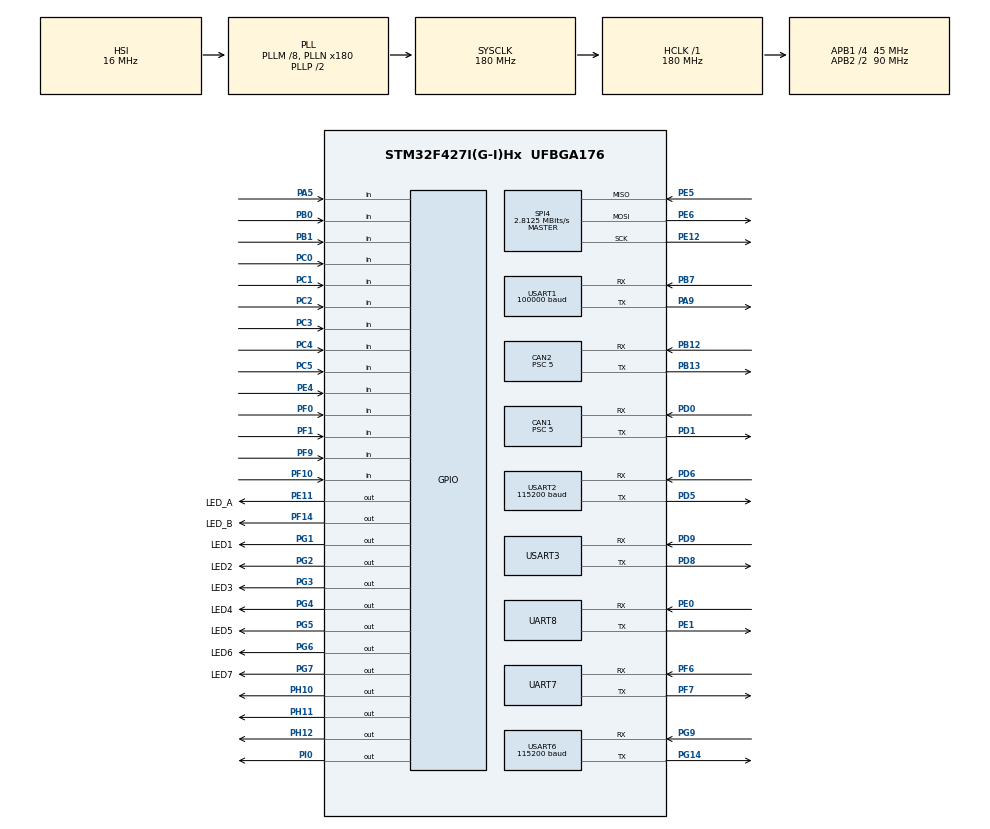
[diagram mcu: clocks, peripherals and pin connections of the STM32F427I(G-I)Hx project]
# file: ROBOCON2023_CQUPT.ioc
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CAN1.ABOM=ENABLE
CAN1.BS1=CAN_BS1_3TQ
CAN1.BS2=CAN_BS2_5TQ
CAN1.CalculateBaudRate=1000000
CAN1.CalculateTimeBit=1000
CAN1.CalculateTimeQuantum=111.11111111111111
CAN1.Prescaler=5
CAN2.ABOM=ENABLE
CAN2.BS1=CAN_BS1_3TQ
CAN2.BS2=CAN_BS2_5TQ
CAN2.CalculateBaudRate=1000000
CAN2.CalculateTimeBit=1000
CAN2.CalculateTimeQuantum=111.11111111111111
CAN2.Prescaler=5
Dma.Request0=USART1_RX
Dma.Request1=USART2_RX
Dma.Request2=USART6_RX
Dma.Request3=UART7_RX
Dma.Request4=UART8_RX
Dma.UART7_RX.3.Direction=DMA_PERIPH_TO_MEMORY
Dma.UART7_RX.3.FIFOMode=DMA_FIFOMODE_DISABLE
Dma.UART7_RX.3.Instance=DMA1_Stream3
Dma.UART7_RX.3.MemDataAlignment=DMA_MDATAALIGN_BYTE
Dma.UART7_RX.3.MemInc=DMA_MINC_ENABLE
Dma.UART7_RX.3.Mode=DMA_NORMAL
Dma.UART7_RX.3.PeriphDataAlignment=DMA_PDATAALIGN_BYTE
Dma.UART7_RX.3.PeriphInc=DMA_PINC_DISABLE
Dma.UART7_RX.3.Priority=DMA_PRIORITY_MEDIUM
Dma.UART8_RX.4.Direction=DMA_PERIPH_TO_MEMORY
Dma.UART8_RX.4.FIFOMode=DMA_FIFOMODE_DISABLE
Dma.UART8_RX.4.Instance=DMA1_Stream6
Dma.UART8_RX.4.MemDataAlignment=DMA_MDATAALIGN_BYTE
Dma.UART8_RX.4.MemInc=DMA_MINC_ENABLE
Dma.UART8_RX.4.Mode=DMA_NORMAL
Dma.UART8_RX.4.PeriphDataAlignment=DMA_PDATAALIGN_BYTE
Dma.UART8_RX.4.PeriphInc=DMA_PINC_DISABLE
Dma.UART8_RX.4.Priority=DMA_PRIORITY_MEDIUM
Dma.USART1_RX.0.Direction=DMA_PERIPH_TO_MEMORY
Dma.USART1_RX.0.FIFOMode=DMA_FIFOMODE_DISABLE
Dma.USART1_RX.0.Instance=DMA2_Stream2
Dma.USART1_RX.0.MemDataAlignment=DMA_MDATAALIGN_BYTE
Dma.USART1_RX.0.MemInc=DMA_MINC_ENABLE
Dma.USART1_RX.0.Mode=DMA_CIRCULAR
Dma.USART1_RX.0.PeriphDataAlignment=DMA_PDATAALIGN_BYTE
Dma.USART1_RX.0.PeriphInc=DMA_PINC_DISABLE
Dma.USART1_RX.0.Priority=DMA_PRIORITY_MEDIUM
Dma.USART2_RX.1.Direction=DMA_PERIPH_TO_MEMORY
Dma.USART2_RX.1.FIFOMode=DMA_FIFOMODE_DISABLE
Dma.USART2_RX.1.Instance=DMA1_Stream5
Dma.USART2_RX.1.MemDataAlignment=DMA_MDATAALIGN_BYTE
Dma.USART2_RX.1.MemInc=DMA_MINC_ENABLE
Dma.USART2_RX.1.Mode=DMA_CIRCULAR
Dma.USART2_RX.1.PeriphDataAlignment=DMA_PDATAALIGN_BYTE
Dma.USART2_RX.1.PeriphInc=DMA_PINC_DISABLE
Dma.USART2_RX.1.Priority=DMA_PRIORITY_MEDIUM
Dma.USART6_RX.2.Direction=DMA_PERIPH_TO_MEMORY
Dma.USART6_RX.2.FIFOMode=DMA_FIFOMODE_DISABLE
Dma.USART6_RX.2.Instance=DMA2_Stream1
Dma.USART6_RX.2.MemDataAlignment=DMA_MDATAALIGN_BYTE
Dma.USART6_RX.2.MemInc=DMA_MINC_ENABLE
Dma.USART6_RX.2.Mode=DMA_CIRCULAR
Dma.USART6_RX.2.PeriphDataAlignment=DMA_PDATAALIGN_BYTE
Dma.USART6_RX.2.PeriphInc=DMA_PINC_DISABLE
Dma.USART6_RX.2.Priority=DMA_PRIORITY_MEDIUM
FREERTOS.Mutexes01=shellMutex,Dynamic,NULL
FREERTOS.Tasks01=testTask,0,128,test_task,As weak,NULL,Dynamic,NULL,NULL;chassisTask,-3,128,chassis_task,As external,NULL,Dynamic,NULL,NULL;ledTask,-3,128,led_task,As external,NULL,Dynamic,NULL,NULL
Mcu.Family=STM32F4
Mcu.Name=STM32F427I(G-I)Hx
Mcu.Package=UFBGA176
NVIC.CAN1_RX0_IRQn=true\:5\:0\:false\:false\:true\:true\:true\:true\:true
NVIC.CAN1_TX_IRQn=true\:5\:0\:false\:false\:true\:true\:true\:true\:true
NVIC.CAN2_RX0_IRQn=true\:5\:0\:false\:false\:true\:true\:true\:true\:true
NVIC.CAN2_TX_IRQn=true\:5\:0\:false\:false\:true\:true\:true\:true\:true
NVIC.DMA1_Stream3_IRQn=true\:5\:0\:false\:false\:true\:true\:false\:true\:true
NVIC.DMA1_Stream5_IRQn=true\:5\:0\:false\:false\:true\:true\:false\:true\:true
NVIC.DMA1_Stream6_IRQn=true\:5\:0\:false\:false\:true\:true\:false\:true\:true
NVIC.DMA2_Stream1_IRQn=true\:5\:0\:false\:false\:true\:true\:false\:true\:true
NVIC.DMA2_Stream2_IRQn=true\:5\:0\:false\:false\:true\:true\:false\:true\:true
NVIC.PriorityGroup=NVIC_PRIORITYGROUP_4
NVIC.TIM2_IRQn=true\:5\:0\:false\:false\:true\:true\:true\:true\:true
NVIC.TIM8_TRG_COM_TIM14_IRQn=true\:15\:0\:false\:false\:true\:false\:false\:true\:true
NVIC.TimeBase=TIM8_TRG_COM_TIM14_IRQn
NVIC.TimeBaseIP=TIM14
NVIC.UART7_IRQn=true\:5\:0\:false\:false\:true\:true\:true\:true\:true
NVIC.UART8_IRQn=true\:5\:0\:false\:false\:true\:true\:true\:true\:true
NVIC.USART1_IRQn=true\:5\:0\:false\:false\:true\:true\:true\:true\:true
NVIC.USART2_IRQn=true\:5\:0\:false\:false\:true\:true\:true\:true\:true
NVIC.USART3_IRQn=true\:5\:0\:false\:false\:true\:true\:true\:true\:true
NVIC.USART6_IRQn=true\:5\:0\:false\:false\:true\:true\:true\:true\:true
PA13.Mode=Serial_Wire
PA13.Signal=SYS_JTMS-SWDIO
PA14.Mode=Serial_Wire
PA14.Signal=SYS_JTCK-SWCLK
PA5.Signal=GPIO_Input
PA9.Mode=Asynchronous
PA9.Signal=USART1_TX
PB0.Signal=GPIO_Input
PB1.Signal=GPIO_Input
PB12.Mode=CAN_Activate
PB12.Signal=CAN2_RX
PB13.Mode=CAN_Activate
PB13.Signal=CAN2_TX
PB7.Mode=Asynchronous
PB7.Signal=USART1_RX
PC0.Signal=GPIO_Input
PC1.Signal=GPIO_Input
PC2.GPIO_PuPd=GPIO_NOPULL
PC2.Signal=GPIO_Input
PC3.GPIO_PuPd=GPIO_NOPULL
PC3.Signal=GPIO_Input
PC4.Signal=GPIO_Input
PC5.Signal=GPIO_Input
PD0.Mode=CAN_Activate
PD0.Signal=CAN1_RX
PD1.Mode=CAN_Activate
PD1.Signal=CAN1_TX
PD5.Mode=Asynchronous
PD5.Signal=USART2_TX
PD6.Mode=Asynchronous
PD6.Signal=USART2_RX
PD8.Mode=Asynchronous
PD8.Signal=USART3_TX
PD9.Mode=Asynchronous
PD9.Signal=USART3_RX
PE0.Mode=Asynchronous
PE0.Signal=UART8_RX
PE1.Mode=Asynchronous
PE1.Signal=UART8_TX
PE11.GPIO_Label=LED_A
PE11.GPIO_PuPd=GPIO_PULLDOWN
PE11.Signal=GPIO_Output
PE12.Mode=Full_Duplex_Master
PE12.Signal=SPI4_SCK
PE4.GPIO_PuPd=GPIO_NOPULL
PE4.Signal=GPIO_Input
PE5.Mode=Full_Duplex_Master
PE5.Signal=SPI4_MISO
PE6.Mode=Full_Duplex_Master
PE6.Signal=SPI4_MOSI
PF0.Signal=GPIO_Input
PF1.Signal=GPIO_Input
PF10.Signal=GPIO_Input
PF14.GPIO_Label=LED_B
PF14.GPIO_PuPd=GPIO_PULLDOWN
PF14.Signal=GPIO_Output
PF6.Mode=Asynchronous
PF6.Signal=UART7_RX
PF7.Mode=Asynchronous
PF7.Signal=UART7_TX
PF9.Signal=GPIO_Input
PG1.GPIO_Label=LED1
PG1.GPIO_PuPd=GPIO_PULLDOWN
PG1.Signal=GPIO_Output
PG14.Mode=Asynchronous
PG14.Signal=USART6_TX
PG2.GPIO_Label=LED2
PG2.GPIO_PuPd=GPIO_PULLDOWN
PG2.Signal=GPIO_Output
PG3.GPIO_Label=LED3
PG3.GPIO_PuPd=GPIO_PULLDOWN
PG3.Signal=GPIO_Output
PG4.GPIO_Label=LED4
PG4.GPIO_PuPd=GPIO_PULLDOWN
PG4.Signal=GPIO_Output
PG5.GPIO_Label=LED5
PG5.GPIO_PuPd=GPIO_PULLDOWN
PG5.Signal=GPIO_Output
PG6.GPIO_Label=LED6
PG6.GPIO_PuPd=GPIO_PULLDOWN
PG6.Signal=GPIO_Output
PG7.GPIO_Label=LED7
PG7.GPIO_PuPd=GPIO_PULLDOWN
PG7.Signal=GPIO_Output
PG9.Mode=Asynchronous
PG9.Signal=USART6_RX
PH0/OSC_IN.Mode=HSE-External-Oscillator
PH0/OSC_IN.Signal=RCC_OSC_IN
PH1/OSC_OUT.Mode=HSE-External-Oscillator
PH1/OSC_OUT.Signal=RCC_OSC_OUT
PH10.PinState=GPIO_PIN_SET
PH10.Signal=GPIO_Output
PH11.PinState=GPIO_PIN_SET
PH11.Signal=GPIO_Output
PH12.PinState=GPIO_PIN_SET
PH12.Signal=GPIO_Output
PI0.PinState=GPIO_PIN_SET
PI0.Signal=GPIO_Output
ProjectManager.HeapSize=0x200
ProjectManager.StackSize=0x400
ProjectManager.TargetToolchain=MDK-ARM V5.32
RCC.48MHZClocksFreq_Value=90000000
RCC.AHBFreq_Value=180000000
RCC.APB1CLKDivider=RCC_HCLK_DIV4
RCC.APB1Freq_Value=45000000
RCC.APB1TimFreq_Value=90000000
RCC.APB2CLKDivider=RCC_HCLK_DIV2
RCC.APB2Freq_Value=90000000
RCC.APB2TimFreq_Value=180000000
RCC.CortexFreq_Value=180000000
RCC.HCLKFreq_Value=180000000
RCC.HSE_VALUE=25000000
RCC.HSI_VALUE=16000000
RCC.LSE_VALUE=32768
RCC.PLLM=8
RCC.PLLN=180
RCC.SYSCLKFreq_VALUE=180000000
RCC.SYSCLKSource=RCC_SYSCLKSOURCE_PLLCLK
RCC.VCOOutputFreq_Value=360000000
SPI4.BaudRatePrescaler=SPI_BAUDRATEPRESCALER_32
SPI4.CLKPhase=SPI_PHASE_2EDGE
SPI4.CalculateBaudRate=2.8125 MBits/s
SPI4.DataSize=SPI_DATASIZE_16BIT
SPI4.Direction=SPI_DIRECTION_2LINES
SPI4.Mode=SPI_MODE_MASTER
SPI4.VirtualType=VM_MASTER
TIM2.Period=1000000-1
TIM2.Prescaler=180-1
UART7.VirtualMode=Asynchronous
UART8.VirtualMode=Asynchronous
USART1.BaudRate=100000
USART1.VirtualMode=VM_ASYNC
USART2.BaudRate=115200
USART2.VirtualMode=VM_ASYNC
USART3.VirtualMode=VM_ASYNC
USART6.BaudRate=115200
USART6.VirtualMode=VM_ASYNC
VP_FREERTOS_VS_CMSIS_V1.Mode=CMSIS_V1
VP_SYS_VS_tim14.Mode=TIM14
VP_TIM2_VS_ClockSourceINT.Mode=Internal
board=custom

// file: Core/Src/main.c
/* USER CODE BEGIN Header */
/**
  ******************************************************************************
  * @file           : main.c
  * @brief          : Main program body
  ******************************************************************************
  * @attention
  *
  * Copyright (c) 2023 STMicroelectronics.
  * All rights reserved.
  *
  * This software is licensed under terms that can be found in the LICENSE file
  * in the root directory of this software component.
  * If no LICENSE file comes with this software, it is provided AS-IS.
  *
  ******************************************************************************
  */
/* USER CODE END Header */
#include "main.h"
#include "cmsis_os.h"
#include "can.h"
#include "dma.h"
#include "spi.h"
#include "tim.h"
#include "usart.h"
#include "gpio.h"

/* USER CODE BEGIN Includes */
#include "bsp_can.h"
#include "bsp_sbus.h"
#include "stdio.h"
#include "vofa_lower.h"
#include "commend.h"
#include "test_task.h"
//重写printf
//int fputc(int ch,FILE *f)
//{
//    uint8_t temp[1]= {ch};
//    HAL_UART_Transmit(&huart6,temp,1,2);
//		return 0;
//}

int fputc(int ch, FILE *f)
{
  HAL_UART_Transmit(&huart6, (uint8_t *)&ch, 1, 0xffff);
  return ch;
}
//int fputc(int ch, FILE *f)
//{
//  HAL_UART_Transmit(&huart2, (uint8_t *)&ch, 1, 0xffff);
//  return ch;
//}
//int fputc(int ch, FILE *f)
//{
//  HAL_UART_Transmit(&huart8, (uint8_t *)&ch, 1, 0xffff);
//  return ch;
//}
#define BUFFERSIZE 255	//可接收的最大数据量
//uint8_t Rx_len_Huart7;//串口6接收长度
//uint8_t ReceiveBuff_Huart7[BUFFERSIZE]; //串口6接收缓冲区
//float pos_x=0;//坐标X--ZBx
//float pos_y=0;//坐标Y--ZBy
//float zangle=0;//航向角
//float xangle=0;//俯仰角
//float yangle=0;//横滚角
//float w_z=0;//航向角速

//float set_pos_x;
//float set_pos_y;
//float set_zangle;
//int move_flag;
//uint8_t shot_flag=0;
//串口屏 串口2

extern uint8_t ReceiveBuff_Huart7[BUFFERSIZE]; //串口7接收缓冲区
uint8_t Rx_len_Huart2;//串口2接收长度
uint8_t ReceiveBuff_Huart2[BUFFERSIZE]; //串口2接收缓冲区

/* USER CODE END Includes */

void SystemClock_Config(void);
void MX_FREERTOS_Init(void);

/* USER CODE BEGIN 0 */
uint8_t cmd = 0;
/* USER CODE END 0 */

int main(void)
{

  /* MCU Configuration--------------------------------------------------------*/

  /* Reset of all peripherals, Initializes the Flash interface and the Systick. */
  HAL_Init();

  /* Configure the system clock */
  SystemClock_Config();

  /* Initialize all configured peripherals */
  MX_GPIO_Init();
  MX_DMA_Init();
  MX_CAN1_Init();
  MX_CAN2_Init();
  MX_SPI4_Init();
  MX_USART1_UART_Init();
  MX_USART2_UART_Init();
  MX_USART3_UART_Init();
  MX_USART6_UART_Init();
  MX_UART7_Init();
  MX_TIM2_Init();
  MX_UART8_Init();
  /* USER CODE BEGIN 2 */
  dbus_uart_init();

	HAL_TIM_Base_Start_IT(&htim2);
	//这里将串口6的shell命令注释
//	extern void userShellInit(void);//由于该rtos不支持宏自动初始化,故手动初始化
//  userShellInit();
  my_can_filter_init_recv_all(&hcan1);
  can_filter_recv_special(&hcan2);
	HAL_UART_Receive_IT(&huart1, &cmd, 1);
	//HAL_UART_Receive_IT(&huart7, ReceiveBuff_Huart7, 1);

    __HAL_UART_ENABLE_IT(&huart7, UART_IT_IDLE);//使能串口7 IDLE中断
    __HAL_UART_ENABLE_IT(&huart8, UART_IT_IDLE);//使能串口8 IDLE中断
   // HAL_UART_Receive_DMA(&huart7,ReceiveBuff_Huart7,BUFFERSIZE);//使能接收
   // __HAL_UART_ENABLE_IT(&huart2, UART_IT_IDLE);//使能串口2 IDLE中断
		HAL_UART_Receive_IT(&huart2, (uint8_t *)aRxBuffer, RXBUFFERSIZE);//该函数会开启接收中断：标志位UART_IT_RXNE，并且设置接收缓冲以及接收缓冲接收最大数据量
	  HAL_UART_Receive_IT(&huart6, (uint8_t *)aRxBuffer_K210, RXBUFFERSIZE_K210);
	 // HAL_UART_Receive_IT(&huart8, (uint8_t *)aRxBuffer_K210, RXBUFFERSIZE_K210);

    /*第二个参数目前为数组 如果为变量需要加取地址符*/
   // HAL_UART_Receive_DMA(&huart2,ReceiveBuff_Huart2,BUFFERSIZE);//使能接收
	var_init();
  /* USER CODE END 2 */

  /* Call init function for freertos objects (in freertos.c) */
  MX_FREERTOS_Init();

  /* Start scheduler */
  osKernelStart();

  /* We should never get here as control is now taken by the scheduler */
  /* Infinite loop */
  while (1)
  {

  }
}

void SystemClock_Config(void)
{
  RCC_OscInitTypeDef RCC_OscInitStruct = {0};
  RCC_ClkInitTypeDef RCC_ClkInitStruct = {0};

  /** Configure the main internal regulator output voltage
  */
  __HAL_RCC_PWR_CLK_ENABLE();
  __HAL_PWR_VOLTAGESCALING_CONFIG(PWR_REGULATOR_VOLTAGE_SCALE1);

  /** Initializes the RCC Oscillators according to the specified parameters
  * in the RCC_OscInitTypeDef structure.
  */
  RCC_OscInitStruct.OscillatorType = RCC_OSCILLATORTYPE_HSI;
  RCC_OscInitStruct.HSIState = RCC_HSI_ON;
  RCC_OscInitStruct.HSICalibrationValue = RCC_HSICALIBRATION_DEFAULT;
  RCC_OscInitStruct.PLL.PLLState = RCC_PLL_ON;
  RCC_OscInitStruct.PLL.PLLSource = RCC_PLLSOURCE_HSI;
  RCC_OscInitStruct.PLL.PLLM = 8;
  RCC_OscInitStruct.PLL.PLLN = 180;
  RCC_OscInitStruct.PLL.PLLP = RCC_PLLP_DIV2;
  RCC_OscInitStruct.PLL.PLLQ = 4;
  if (HAL_RCC_OscConfig(&RCC_OscInitStruct) != HAL_OK)
  {
    Error_Handler();
  }

  /** Activate the Over-Drive mode
  */
  if (HAL_PWREx_EnableOverDrive() != HAL_OK)
  {
    Error_Handler();
  }

  /** Initializes the CPU, AHB and APB buses clocks
  */
  RCC_ClkInitStruct.ClockType = RCC_CLOCKTYPE_HCLK|RCC_CLOCKTYPE_SYSCLK
                              |RCC_CLOCKTYPE_PCLK1|RCC_CLOCKTYPE_PCLK2;
  RCC_ClkInitStruct.SYSCLKSource = RCC_SYSCLKSOURCE_PLLCLK;
  RCC_ClkInitStruct.AHBCLKDivider = RCC_SYSCLK_DIV1;
  RCC_ClkInitStruct.APB1CLKDivider = RCC_HCLK_DIV4;
  RCC_ClkInitStruct.APB2CLKDivider = RCC_HCLK_DIV2;

  if (HAL_RCC_ClockConfig(&RCC_ClkInitStruct, FLASH_LATENCY_5) != HAL_OK)
  {
    Error_Handler();
  }
}

/* USER CODE BEGIN 4 */

//void HAL_UART_RxCpltCallback(UART_HandleTypeDef *huart)
//{
//	if(huart->Instance == USART1){
//		if(cmd == 0xA1){

//			HAL_UART_Transmit(&huart1, "Toggle LED0!\r\n", sizeof("Toggle LED0!\r\n"),10000);
//		}
//		if(cmd == 0xA2){
//			HAL_UART_Transmit(&huart1, "Toggle LED1!\r\n", sizeof("Toggle LED1!\r\n"),10000);
//		}
//		HAL_UART_Receive_IT(&huart1, &cmd, 1);
//	}
//}

/* USER CODE END 4 */

void HAL_TIM_PeriodElapsedCallback(TIM_HandleTypeDef *htim)
{
  if (htim->Instance == TIM14) {
    HAL_IncTick();
  }
}

void Error_Handler(void)
{
  __disable_irq();
  while (1)
  {
  }
}

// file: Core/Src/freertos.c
/* USER CODE BEGIN Header */
/**
  ******************************************************************************
  * File Name          : freertos.c
  * Description        : Code for freertos applications
  ******************************************************************************
  * @attention
  *
  * Copyright (c) 2023 STMicroelectronics.
  * All rights reserved.
  *
  * This software is licensed under terms that can be found in the LICENSE file
  * in the root directory of this software component.
  * If no LICENSE file comes with this software, it is provided AS-IS.
  *
  ******************************************************************************
  */
/* USER CODE END Header */

#include "FreeRTOS.h"
#include "task.h"
#include "main.h"
#include "cmsis_os.h"

osThreadId testTaskHandle;
osThreadId chassisTaskHandle;
osThreadId ledTaskHandle;
osMutexId shellMutexHandle;

void test_task(void const * argument);
extern void chassis_task(void const * argument);
extern void led_task(void const * argument);

void MX_FREERTOS_Init(void); /* (MISRA C 2004 rule 8.1) */

/* GetIdleTaskMemory prototype (linked to static allocation support) */
void vApplicationGetIdleTaskMemory( StaticTask_t **ppxIdleTaskTCBBuffer, StackType_t **ppxIdleTaskStackBuffer, uint32_t *pulIdleTaskStackSize );

/* USER CODE BEGIN GET_IDLE_TASK_MEMORY */
static StaticTask_t xIdleTaskTCBBuffer;
static StackType_t xIdleStack[configMINIMAL_STACK_SIZE];

void vApplicationGetIdleTaskMemory( StaticTask_t **ppxIdleTaskTCBBuffer, StackType_t **ppxIdleTaskStackBuffer, uint32_t *pulIdleTaskStackSize )
{
  *ppxIdleTaskTCBBuffer = &xIdleTaskTCBBuffer;
  *ppxIdleTaskStackBuffer = &xIdleStack[0];
  *pulIdleTaskStackSize = configMINIMAL_STACK_SIZE;
  /* place for user code */
}
/* USER CODE END GET_IDLE_TASK_MEMORY */

void MX_FREERTOS_Init(void) {
  /* Create the mutex(es) */
  /* definition and creation of shellMutex */
  osMutexDef(shellMutex);
  shellMutexHandle = osMutexCreate(osMutex(shellMutex));

  /* Create the thread(s) */
  /* definition and creation of testTask */
  osThreadDef(testTask, test_task, osPriorityNormal, 0, 128);
  testTaskHandle = osThreadCreate(osThread(testTask), NULL);

  /* definition and creation of chassisTask */
  osThreadDef(chassisTask, chassis_task, osPriorityIdle, 0, 128);
  chassisTaskHandle = osThreadCreate(osThread(chassisTask), NULL);

  /* definition and creation of ledTask */
  osThreadDef(ledTask, led_task, osPriorityIdle, 0, 128);
  ledTaskHandle = osThreadCreate(osThread(ledTask), NULL);

}

__weak void test_task(void const * argument)
{
  for(;;)
  {
    osDelay(1);
  }
}
